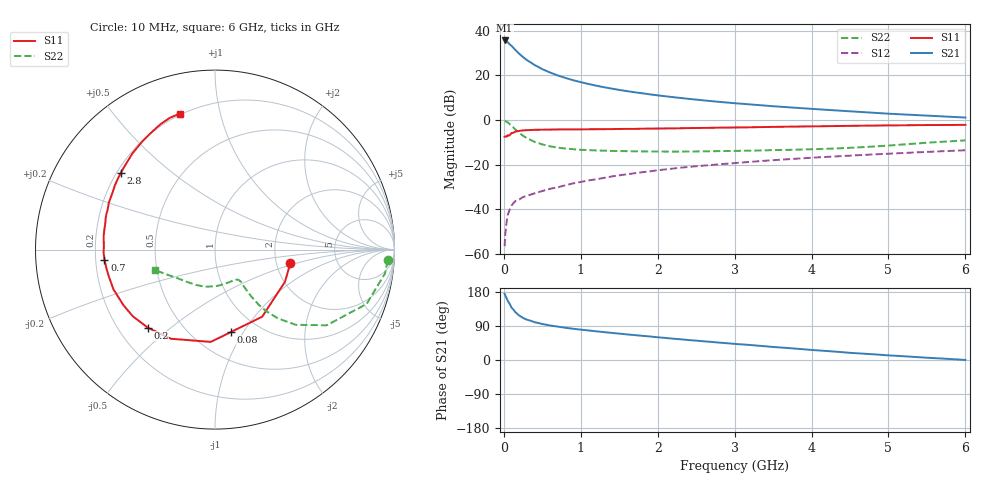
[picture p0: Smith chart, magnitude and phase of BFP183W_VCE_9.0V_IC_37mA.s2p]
! Infineon Technologies  Discrete & RF Semiconductors
! BFP183W
! VCE =  9.0 V,  IC =  37 mA
! Common Emitter S-Parameters:  Jan 2017
# GHz  S  MA  R  50
!  f  S11  S21  S12  S22
! GHz  MAG  ANG  MAG  ANG  MAG  ANG  MAG  ANG
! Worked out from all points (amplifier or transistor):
!   77 points, 10 MHz to 6 GHz, reference 50 ohm
!   highest |S21| = 35.7 dB at 10 MHz (marker M1)
!   |S21| within 3 dB of that: start of sweep to 115.9 MHz
!   unconditionally stable (mu >= 1): 924.2 MHz to 3.362 GHz
!   at 130 MHz: K = 0.32, MSG = 34.6 dB, |S12| = -37.0 dB
!   at 2.2 GHz: K = 1.06, MAG = 14.5 dB, |S12| = -21.7 dB
!   at 6 GHz: K = 0.85, MSG = 7.3 dB, |S12| = -13.5 dB
!   S11 on the Smith chart (normalised r, x): 10 MHz: 2.39, -0.45; 80 MHz: 0.75, -0.88; 200 MHz: 0.32, -0.42; 700 MHz: 0.24, -0.04; 2.8 GHz: 0.22, +0.34; 6 GHz: 0.19, +0.76
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0.01  0.4264 -10.4  60.97 174.9  0.0015 82.4  0.9644 -3.6
0.02  0.4293 -24.7  60.11 169.7  0.0029 96.9  0.9564 -8.0
0.05  0.457 -54.9  55.65 156.4  0.0074 68.2  0.8978 -19.7
0.08  0.4671 -78.8  49.34 146.4  0.0103 63.4  0.804 -27.7
0.1  0.5148 -92.6  46.16 138.3  0.0122 61.4  0.752 -34.1
0.15  0.5537 -116.2  37.4 126.0  0.0154 54.7  0.6162 -42.9
0.2  0.5739 -130.7  30.7 117.3  0.0167 50.7  0.5186 -47.6
0.25  0.5896 -141.0  25.8 110.9  0.0189 47.8  0.4469 -50.2
0.3  0.5968 -148.7  22.08 106.4  0.0202 49.0  0.3932 -51.6
0.4  0.6075 -158.6  17.13 99.7  0.0229 50.4  0.3256 -52.3
0.5  0.61 -165.5  13.86 95.0  0.0258 53.0  0.2854 -52.1
0.6  0.6145 -170.7  11.68 91.2  0.029 55.2  0.2595 -51.9
0.7  0.6182 -174.8  10.04 88.1  0.0312 57.5  0.2418 -51.2
0.9  0.6194 178.4  7.842 82.5  0.0382 59.9  0.2233 -51.5
1.1  0.6248 172.9  6.46 78.0  0.0446 62.7  0.2132 -52.2
1.5  0.6338 164.0  4.752 69.6  0.0579 63.1  0.2022 -56.7
2.1  0.6507 152.5  3.428 58.2  0.0788 62.5  0.1977 -68.2
2.8  0.6772 140.9  2.567 45.9  0.1023 59.8  0.2023 -86.0
3.1  0.6874 136.4  2.322 41.1  0.1125 58.1  0.2055 -94.1
4.1  0.7288 122.9  1.744 25.1  0.1469 52.2  0.2253 -120.6
5.1  0.7647 112.4  1.367 11.1  0.1803 45.8  0.2772 -146.9
6  0.7831 104.5  1.143 0.1  0.2113 39.8  0.3518 -161.2
